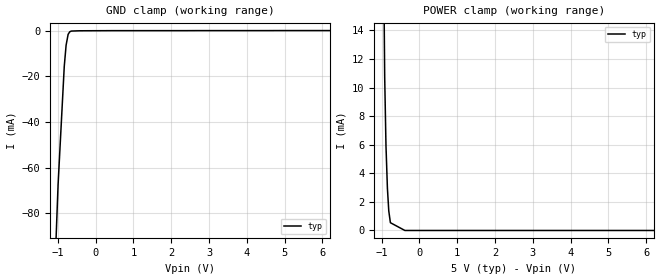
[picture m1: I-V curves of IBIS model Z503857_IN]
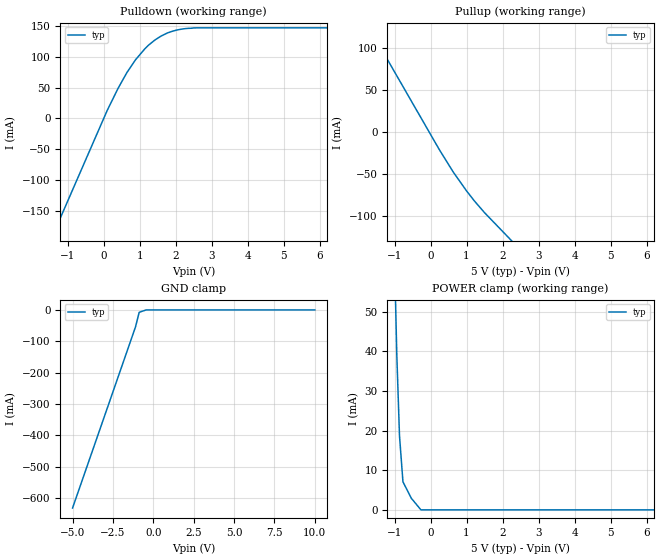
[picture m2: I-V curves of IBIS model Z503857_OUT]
| YOU ARE ONLY AUTHORIZED TO USE THIS SOFTWARE
| ACCORDING TO LICENSOR'S LICENSE RESTRICTIONS.
[IBIS Ver] 3.1
[File Name] mc74act352n.ibs
[File Rev] 2.0
[Source] Measured and created by ICX Technology
[Date] Friday 7/14/00 9:08:01 AM
[Copyright]
| (C) COPYRIGHT 1993-2000
| MENTOR GRAPHICS CORPORATION
| ICX STANDARD LIBRARY, ICX PROJECT MODELING,
| ICX CUSTOM MODELING, ICX VENDOR MODEL
| ALL RIGHTS RESERVED.
| THE FOLLOWING ARE TRADEMARKS OR SERVICE MARKS OF
| MENTOR GRAPHICS CORPORATION:ICX (R), ICX STANDARD
| LIBRARY(R), ICX PROJECT MODELING(R), ICX CUSTOM
| MODELING(R), qualityIBIS(TM), MODELVIEWER(TM),
| AND MODELEDITOR(TM)
| ALL COPIES OF SOFTWARE, INCLUDING BUT NOT LIMITED TO
| ANY MODIFICATIONS, ENHANCEMENTS OR DERIVATIVE WORKS,
| MUST CONTAIN ALL MENTOR GRAPHICS CORPORATION'S
| NOTICES AND LEGENDS, INCLUDING THOSE EMBEDDED IN
| SOFTWARE AND THOSE AFFIXED TO SOFTWARE MEDIUM
| AND CONTAINER, AS RECEIVED FROM MENTOR GRAPHICS
| CORPORATION.
|  ZAP Model Builder 2.7
[Component] MC74ACT352N
[Manufacturer] OnSemiconductor
[Package]
| variable   typ   min   max
R_pkg  .212ohms NA NA
L_pkg  4.758nH NA NA
C_pkg  1.143pF NA NA
[Pin] signal_name  model_name  R_pin  L_pin C_pin
1 _G1 Z503857_IN .224 7.258n 1.578p
2 B Z503857_IN .216 5.258n 1.288p
3 C3A Z503857_IN .208 3.758n .998p
4 C2A Z503857_IN .2 2.758n .708p
5 C1A Z503857_IN .2 2.758n .708p
6 C0A Z503857_IN .208 3.758n .998p
7 _Y1 Z503857_OUT .216 5.258n 1.288p
8 GND GND .224 7.258n 1.578p
9 _Y2 Z503857_OUT .224 7.258n 1.578p
10 C0B Z503857_IN .216 5.258n 1.288p
11 C1B Z503857_IN .208 3.758n .998p
12 C2B Z503857_IN .2 2.758n .708p
13 C3B Z503857_IN .2 2.758n .708p
14 A Z503857_IN .208 3.758n .998p
15 _G2 Z503857_IN .216 5.258n 1.288p
16 VCC POWER .224 7.258n 1.578p
| Models and submodels in the file (2): Z503857_IN (Input), Z503857_OUT (Output)
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| (C) COPYRIGHT 1993-2000
| MENTOR GRAPHICS CORPORATION
| ICX STANDARD LIBRARY, ICX PROJECT MODELING,
| ICX CUSTOM MODELING, ICX VENDOR MODEL
| ALL RIGHTS RESERVED.
| THE FOLLOWING ARE TRADEMARKS OR SERVICE MARKS OF
| MENTOR GRAPHICS CORPORATION:ICX (R), ICX STANDARD
| LIBRARY(R), ICX PROJECT MODELING(R), ICX CUSTOM
| MODELING(R), qualityIBIS(TM), MODELVIEWER(TM),
| AND MODELEDITOR(TM)
| ALL COPIES OF SOFTWARE, INCLUDING BUT NOT LIMITED TO
| ANY MODIFICATIONS, ENHANCEMENTS OR DERIVATIVE WORKS,
| MUST CONTAIN ALL MENTOR GRAPHICS CORPORATION'S
| NOTICES AND LEGENDS, INCLUDING THOSE EMBEDDED IN
| SOFTWARE AND THOSE AFFIXED TO SOFTWARE MEDIUM
| AND CONTAINER, AS RECEIVED FROM MENTOR GRAPHICS
| CORPORATION.
| Model Application Version 1.89 2/18/99.
[Model] Z503857_IN
Model_type Input
Vinl = 800.0mV
Vinh = 2.000V
C_comp 4.000pF NA NA
| variable typ   min   max
[Voltage Range] 5.000V NA NA
[GND Clamp Reference] 0.000V NA NA
[POWER Clamp Reference] 5.000V NA NA
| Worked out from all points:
|   GND clamp passes 1 mA (typ) near -0.71 V on its own axis
|   POWER clamp passes 1 mA (typ) near -0.79 V on its own axis
[GND Clamp]
-5V       -2.599A    NA         NA
-1.05V    -92.58mA   NA         NA
-993.3mV  -67.42mA   NA         NA
-830.1mV  -15.58mA   NA         NA
-781.3mV  -6.249mA   NA         NA
-727.7mV  -1.485mA   NA         NA
-684.4mV  -377.7uA   NA         NA
-644.9mV  -50.92uA   NA         NA
10V       167.1uA    NA         NA
[POWER Clamp]
-5V       3.03A      NA         NA
-1.113V   91.84mA    NA         NA
-1.01V    38.34mA    NA         NA
-918mV    10.76mA    NA         NA
-884mV    5.945mA    NA         NA
-846mV    2.963mA    NA         NA
-810mV    1.373mA    NA         NA
-767mV    544.2uA    NA         NA
-383.5mV  0A         NA         NA
10V       0A         NA         NA
| (C) COPYRIGHT 1993-2000
| MENTOR GRAPHICS CORPORATION
| ICX STANDARD LIBRARY, ICX PROJECT MODELING,
| ICX CUSTOM MODELING, ICX VENDOR MODEL
| ALL RIGHTS RESERVED.
| THE FOLLOWING ARE TRADEMARKS OR SERVICE MARKS OF
| MENTOR GRAPHICS CORPORATION:ICX (R), ICX STANDARD
| LIBRARY(R), ICX PROJECT MODELING(R), ICX CUSTOM
| MODELING(R), qualityIBIS(TM), MODELVIEWER(TM),
| AND MODELEDITOR(TM)
| ALL COPIES OF SOFTWARE, INCLUDING BUT NOT LIMITED TO
| ANY MODIFICATIONS, ENHANCEMENTS OR DERIVATIVE WORKS,
| MUST CONTAIN ALL MENTOR GRAPHICS CORPORATION'S
| NOTICES AND LEGENDS, INCLUDING THOSE EMBEDDED IN
| SOFTWARE AND THOSE AFFIXED TO SOFTWARE MEDIUM
| AND CONTAINER, AS RECEIVED FROM MENTOR GRAPHICS
| CORPORATION.
| Model Application Version 1.89 2/18/99.
[Model] Z503857_OUT
Model_type Output
Vref=0.000V
Rref=500.0ohms
Cref=50.00pF
Vmeas=1.500V
C_comp 8.000pF NA NA
| variable typ   min   max
[Voltage Range] 5.000V NA NA
[POWER Clamp Reference] 5.000V NA NA
[Pullup Reference] 5.000V NA NA
[Pulldown Reference] 0.000V NA NA
[GND Clamp Reference] 0.000V NA NA
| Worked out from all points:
|   slope of the pulldown table from 0 to 0.75 V, typ, clamps not added: 8.93 ohm
|   slope of the pullup table from 0 to 0.75 V, typ, clamps not added: 14.5 ohm
[GND Clamp]
-5V       -631.7mA   NA         NA
-1.104V   -54.57mA   NA         NA
-873.7mV  -7.568mA   NA         NA
-436.9mV  0A         NA         NA
10V       0A         NA         NA
[Pulldown]
-5V       -673.2mA   NA         NA
93.35mV   12.44mA    NA         NA
395.6mV   48.59mA    NA         NA
644.6mV   74.75mA    NA         NA
884mV     95.54mA    NA         NA
1.235V    118.9mA    NA         NA
1.426V    128mA      NA         NA
1.772V    139.4mA    NA         NA
2.184V    145.8mA    NA         NA
2.602V    147.7mA    NA         NA
10V       147.7mA    NA         NA
[Pullup]
-5V       368.2mA    NA         NA
242mV     -20.67mA   NA         NA
631mV     -47.41mA   NA         NA
1.006V    -70.13mA   NA         NA
1.213V    -81.43mA   NA         NA
1.5V      -95.63mA   NA         NA
10V       -472mA     NA         NA
[POWER Clamp]
-5V       1.965A     NA         NA
-1.044V   80.86mA    NA         NA
-937mV    39.2mA     NA         NA
-862mV    18.73mA    NA         NA
-766mV    7.069mA    NA         NA
-532mV    2.909mA    NA         NA
-266mV    0A         NA         NA
10V       0A         NA         NA
[Ramp]
| variable typ min max
dV/dt_r 2.942/394.2p NA NA
dV/dt_f 2.942/381.3p NA NA
R_load = 500.0Ohms
